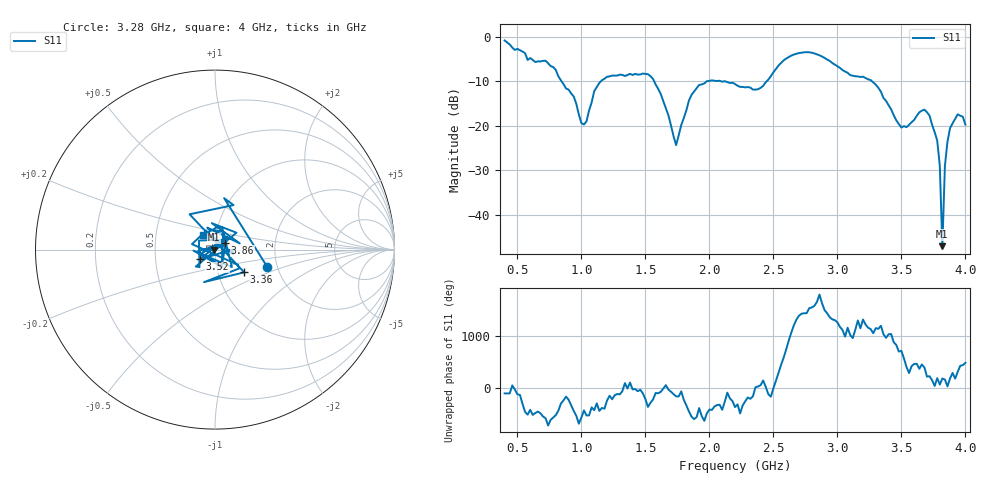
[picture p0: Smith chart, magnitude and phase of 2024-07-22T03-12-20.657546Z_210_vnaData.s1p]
!Created with skrf (http://scikit-rf.org).
# Hz S RI R 50.0
!freq ReS11 ImS11
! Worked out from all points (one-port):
!   181 points, 400 MHz to 4 GHz, reference 50 ohm
!   lowest |S11| = -47.1 dB at 3.82 GHz (marker M1), VSWR 1.01, Z = 49.6 - j0.0369 ohm
!   |S11| at or under -10 dB: 1.569 GHz to 1.978 GHz (408.4 MHz wide, 23 % of centre); 2.127 GHz to 2.446 GHz (319.6 MHz wide, 14 % of centre); 3.272 GHz to end of sweep (the widest 3 of 5)
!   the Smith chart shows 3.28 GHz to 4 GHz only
!   S11 on the Smith chart (normalised r, x): 3.28 GHz: 1.77, -0.39; 3.36 GHz: 1.34, -0.35; 3.52 GHz: 0.84, -0.09; 3.86 GHz: 1.11, +0.08; 4 GHz: 0.87, +0.14
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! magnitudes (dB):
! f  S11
! 400 MHz  -0.8
! 720 MHz  -5.3
! 860 MHz  -10.6
! 1.02 GHz  -19.7
! 1.14 GHz  -10.3
! 1.3 GHz  -8.5
! 1.54 GHz  -8.8
! 1.66 GHz  -15.9
! 1.74 GHz  -24.3
! 1.76 GHz  -22.1
! 1.84 GHz  -14.3
! 1.92 GHz  -10.8
! 2.2 GHz  -10.6
! 2.38 GHz  -11.7
! 2.66 GHz  -3.9
! 3.1 GHz  -8.6
! 3.28 GHz  -10.2
! 3.36 GHz  -13.7
! 3.52 GHz  -20.0
! 3.56 GHz  -19.8
! 3.68 GHz  -16.3
! 3.78 GHz  -23.3
! 3.8 GHz  -28.9
! 3.82 GHz  -47.1
! 3.84 GHz  -29.0
! 3.86 GHz  -23.6
! 3.94 GHz  -17.4
! 4 GHz  -19.7
